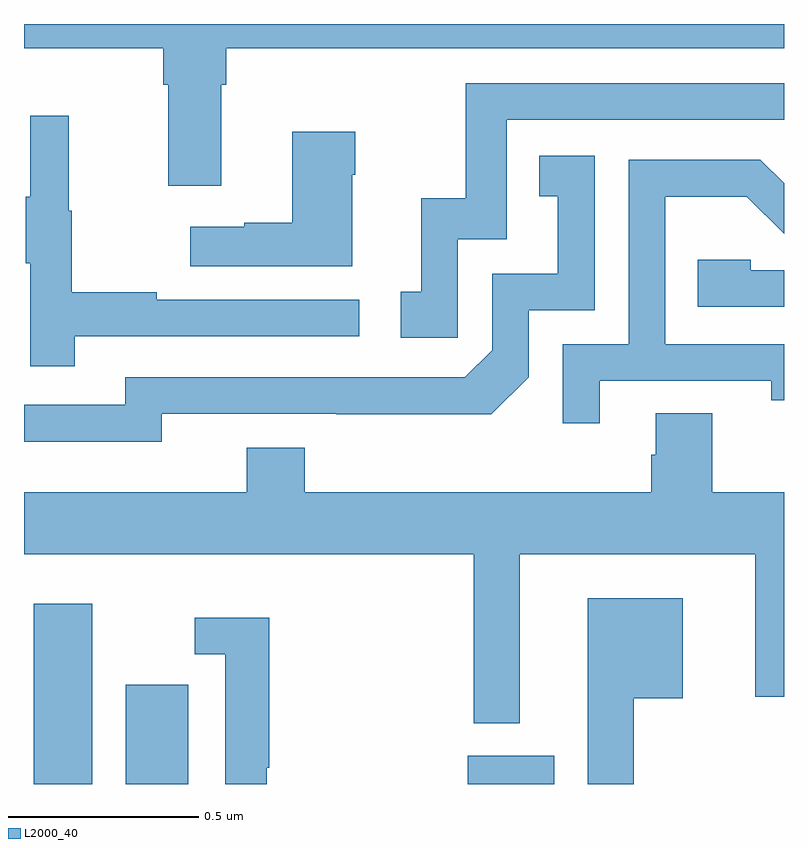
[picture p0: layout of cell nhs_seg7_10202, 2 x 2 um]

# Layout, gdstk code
import gdstk
lib = gdstk.Library(unit=1e-6, precision=1e-09)
def R(c, l, rs):  # rectangles x0, y0, x1, y1
    for r in rs: c.add(gdstk.rectangle(r[:2], r[2:], *l))
def P(c, l, *ps):  # polygons
    for p in ps: c.add(gdstk.Polygon(p, *l))
L2000_40 = (2000, 40)

nhs_seg7_10202 = lib.new_cell('nhs_seg7_10202')
R(nhs_seg7_10202, L2000_40, [(247.025,1012,247.18,1012.474), (247.268,1012,247.432,1012.261), (248.168,1012,248.395,1012.075)])
P(nhs_seg7_10202, L2000_40, [(247.519,1013.84),(247.532,1013.84),(247.532,1013.936),(249,1013.936),(249,1014),(247,1014),(247,1013.936),(247.367,1013.936),(247.367,1013.84),(247.379,1013.84),(247.379,1013.574),(247.519,1013.574)],
  [(248.142,1013.433),(248.271,1013.433),(248.271,1013.748),(249,1013.748),(249,1013.844),(248.163,1013.844),(248.163,1013.542),(248.045,1013.542),(248.045,1013.295),(247.992,1013.295),(247.992,1013.175),(248.142,1013.175)],
  [(247.133,1013.178),(247.882,1013.178),(247.882,1013.274),(247.349,1013.274),(247.349,1013.294),(247.126,1013.294),(247.126,1013.508),(247.118,1013.508),(247.118,1013.758),(247.016,1013.758),(247.016,1013.545),(247.005,1013.545),(247.005,1013.371),(247.016,1013.371),(247.016,1013.1),(247.133,1013.1)],
  [(247.864,1013.603),(247.872,1013.603),(247.872,1013.716),(247.706,1013.716),(247.706,1013.477),(247.58,1013.477),(247.58,1013.467),(247.437,1013.467),(247.437,1013.363),(247.864,1013.363)],
  [(247.362,1012.974),(247.822,1012.974),(247.822,1012.973),(248.23,1012.973),(248.328,1013.07),(248.328,1013.247),(248.502,1013.247),(248.502,1013.653),(248.356,1013.653),(248.356,1013.547),(248.405,1013.547),(248.405,1013.343),(248.232,1013.343),(248.232,1013.142),(248.16,1013.07),(247.266,1013.07),(247.266,1012.998),(247,1012.998),(247,1012.901),(247.362,1012.901)],
  [(248.515,1013.061),(248.966,1013.061),(248.966,1013.01),(249,1013.01),(249,1013.157),(248.688,1013.157),(248.688,1013.546),(248.902,1013.546),(249,1013.448),(249,1013.581),(248.938,1013.643),(248.592,1013.643),(248.592,1013.157),(248.418,1013.157),(248.418,1012.95),(248.515,1012.95)],
  [(249,1013.352),(248.913,1013.352),(248.913,1013.379),(248.773,1013.379),(248.773,1013.256),(249,1013.256)],
  [(248.305,1012.604),(248.924,1012.604),(248.924,1012.23),(249,1012.23),(249,1012.768),(248.811,1012.768),(248.811,1012.976),(248.663,1012.976),(248.663,1012.866),(248.651,1012.866),(248.651,1012.768),(247.739,1012.768),(247.739,1012.885),(247.586,1012.885),(247.586,1012.768),(247,1012.768),(247,1012.604),(248.184,1012.604),(248.184,1012.16),(248.305,1012.16)],
  [(248.605,1012.226),(248.734,1012.226),(248.734,1012.489),(248.483,1012.489),(248.483,1012),(248.605,1012)],
  [(247.639,1012.043),(247.646,1012.043),(247.646,1012.438),(247.449,1012.438),(247.449,1012.341),(247.53,1012.341),(247.53,1012),(247.639,1012)])

lib.write_gds('nhs_seg7_10202.gds')
